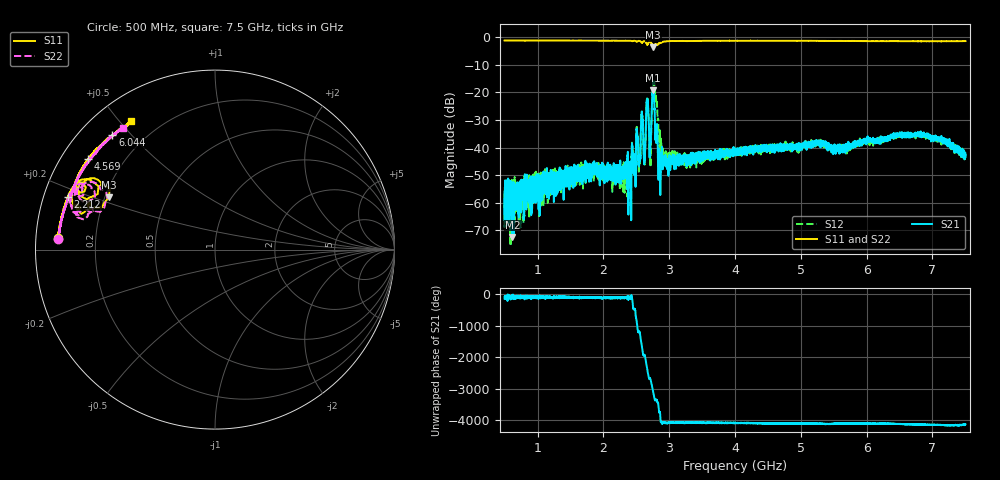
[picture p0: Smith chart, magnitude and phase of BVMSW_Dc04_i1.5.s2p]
!Keysight Technologies,M9374A,MY55442783,A.12.55.05
!Date: Thursday, May 20, 2021 17:57:59
!Correction: S11(Full 2 Port(1,2))
!S21(Full 2 Port(1,2))
!S12(Full 2 Port(1,2))
!S22(Full 2 Port(1,2))
!S2P File: Measurements: S11, S21, S12, S22:
# Hz S  RI  R 50
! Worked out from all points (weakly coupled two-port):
!   7001 points, 500 MHz to 7.5 GHz, reference 50 ohm
!   highest |S21| = -19.24 dB at 2.756 GHz (marker M1); lowest = -72.4 dB at 619 MHz (marker M2)
!   lowest |S11| = -3.6 dB at 2.757 GHz (marker M3), VSWR 4.84, Z = 10.9 + j11.1 ohm
!   |S11| at or under -10 dB: nowhere
!   |S22| runs from -3.6 to -1.1 dB; largest |S21 - S12| = 0.1
!   S11 on the Smith chart (normalised r, x): 500 MHz: 0.07, +0.04; 2.212 GHz: 0.07, +0.17; 4.569 GHz: 0.08, +0.32; 6.044 GHz: 0.09, +0.44; 7.5 GHz: 0.10, +0.54
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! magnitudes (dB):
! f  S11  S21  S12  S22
! 500 MHz  -1.1  -58.7  -55.8  -1.2
! 619 MHz  -1.1  -72.4  -53.9  -1.2
! 1.667 GHz  -1.2  -49.8  -48.3  -1.2
! 2.212 GHz  -1.2  -49.3  -49.2  -1.2
! 2.39 GHz  -1.2  -47.2  -46.1  -1.3
! 2.579 GHz  -1.7  -28.4  -28.3  -1.8
! 2.625 GHz  -1.4  -43.1  -45.2  -1.4
! 2.666 GHz  -2.7  -23.5  -22.7  -2.7
! 2.711 GHz  -1.6  -39.8  -41.5  -1.7
! 2.756 GHz  -3.6  -19.2  -16.9  -3.5
! 2.757 GHz  -3.6  -19.6  -16.8  -3.6
! 2.787 GHz  -2.5  -36.3  -20.1  -2.6
! 2.834 GHz  -2.5  -44.9  -29.9  -2.7
! 2.878 GHz  -1.9  -44.6  -38.2  -2.0
! 3.001 GHz  -1.4  -45.6  -43.0  -1.4
! 4 GHz  -1.3  -40.3  -41.2  -1.3
! 4.569 GHz  -1.2  -39.5  -41.3  -1.3
! 5.167 GHz  -1.3  -38.2  -37.9  -1.3
! 6.044 GHz  -1.3  -37.0  -38.2  -1.3
! 6.334 GHz  -1.4  -36.5  -36.9  -1.3
! 6.912 GHz  -1.4  -36.0  -36.0  -1.4
! 7.5 GHz  -1.3  -42.2  -43.2  -1.4
